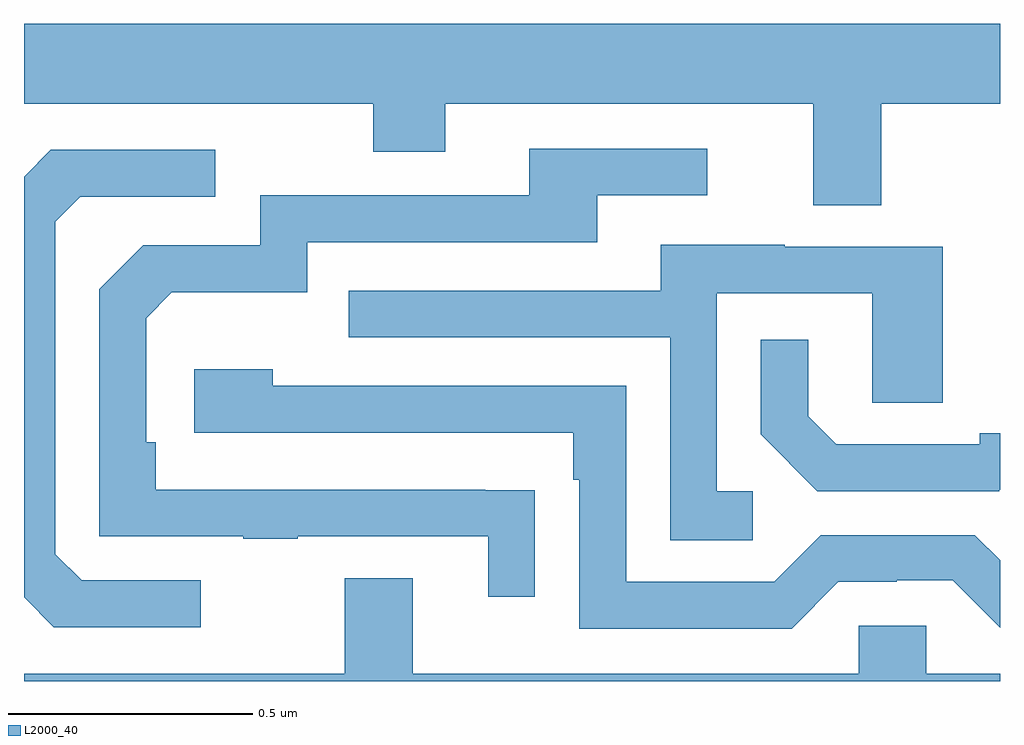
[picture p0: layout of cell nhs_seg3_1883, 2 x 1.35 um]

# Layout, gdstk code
import gdstk
lib = gdstk.Library(unit=1e-6, precision=1e-09)
def P(c, l, *ps):  # polygons
    for p in ps: c.add(gdstk.Polygon(p, *l))
L2000_40 = (2000, 40)

nhs_seg3_1883 = lib.new_cell('nhs_seg3_1883')
P(nhs_seg3_1883, L2000_40, [(135.757,699.584),(136,699.584),(136,699.748),(134,699.748),(134,699.584),(134.716,699.584),(134.716,699.485),(134.863,699.485),(134.863,699.584),(135.617,699.584),(135.617,699.376),(135.757,699.376)],
  [(135.047,698.792),(134.945,698.792),(134.945,698.793),(134.27,698.793),(134.27,698.89),(134.25,698.89),(134.25,699.144),(134.303,699.197),(134.58,699.197),(134.58,699.3),(135.175,699.3),(135.175,699.396),(135.4,699.396),(135.4,699.492),(135.035,699.492),(135.035,699.396),(134.484,699.396),(134.484,699.294),(134.244,699.294),(134.154,699.204),(134.154,698.697),(134.449,698.697),(134.449,698.692),(134.561,698.692),(134.561,698.697),(134.951,698.697),(134.951,698.574),(135.047,698.574)],
  [(134.362,698.607),(134.118,698.607),(134.064,698.661),(134.064,699.342),(134.115,699.393),(134.392,699.393),(134.392,699.489),(134.055,699.489),(134,699.434),(134,698.572),(134.061,698.511),(134.362,698.511)],
  [(135.493,698.79),(135.42,698.79),(135.42,699.195),(135.738,699.195),(135.738,698.971),(135.883,698.971),(135.883,699.291),(135.559,699.291),(135.559,699.295),(135.305,699.295),(135.305,699.201),(134.665,699.201),(134.665,699.105),(135.324,699.105),(135.324,698.689),(135.493,698.689)],
  [(135.998,698.793),(136,698.793),(136,698.909),(135.959,698.909),(135.959,698.886),(135.664,698.886),(135.607,698.943),(135.607,699.1),(135.51,699.1),(135.51,698.906),(135.626,698.79),(135.998,698.79)],
  [(135.669,698.604),(135.788,698.604),(135.788,698.607),(135.903,698.607),(136,698.51),(136,698.648),(135.948,698.7),(135.633,698.7),(135.537,698.604),(135.234,698.604),(135.234,699.006),(134.51,699.006),(134.51,699.04),(134.349,699.04),(134.349,698.91),(135.125,698.91),(135.125,698.813),(135.138,698.813),(135.138,698.508),(135.573,698.508)],
  [(136,698.416),(135.849,698.416),(135.849,698.514),(135.711,698.514),(135.711,698.416),(134.797,698.416),(134.797,698.611),(134.657,698.611),(134.657,698.416),(134,698.416),(134,698.4),(136,698.4)])

lib.write_gds('nhs_seg3_1883.gds')
